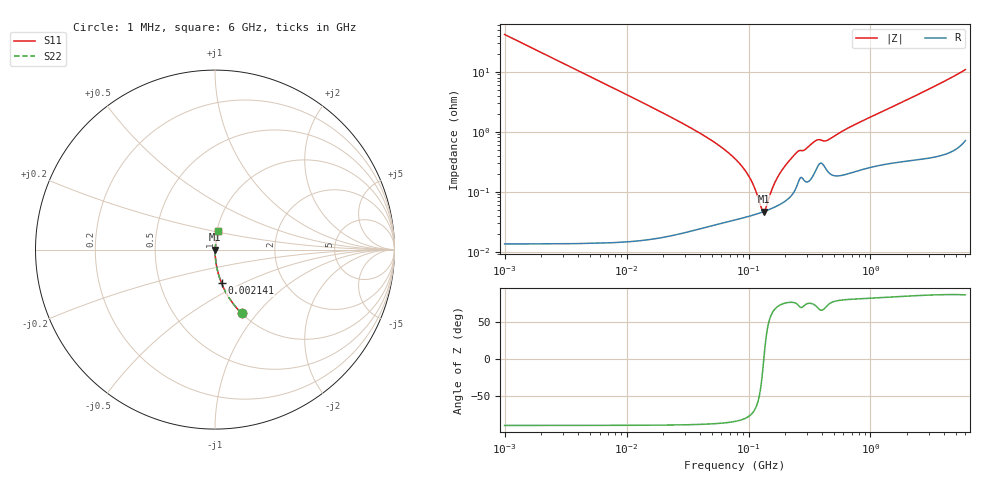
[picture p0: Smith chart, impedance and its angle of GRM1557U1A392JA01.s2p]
!Murata Part Number: GRM1557U1A392JA01
!These Parameters are Measured in Series Mode Connection
!Data Generated on Mar 30, 2021
!  o--ll--o
!Port1  Port2
!  o------o
!Operation Temp=25[degC], DC Bias Voltage=0[V]
!Freq. Start=1000[kHz] Stop=6[GHz] 401[Steps]
# Hz S RI R 50
!Freq.(Hz) S11(Real) S11(Imag) S21(Real) S21(Imag) S12(Real) S12(Imag) S22(Real) S22(Imag)
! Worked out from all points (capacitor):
!   401 points, 1 MHz to 6 GHz, reference 50 ohm
!   read as one part in series: C = 3.81 nF near 1.044 MHz
!   lowest |Z| = 46.5 mohm at 133.4 MHz (marker M1)
!   series resonance near 133.5 MHz, so ESL is about 370 pH
!   S11 on the Smith chart (normalised r, x): 1 MHz: 1.00, -0.84; 2.141 MHz: 1.00, -0.39; 6 GHz: 1.01, +0.22
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1000000  0.1486 -0.3555  0.8514 0.3555  0.8514 0.3555  0.1486 -0.3555
2140860  0.0368 -0.1878  0.9632 0.1878  0.9632 0.1878  0.0368 -0.1878
4293785  0.00948 -0.0962  0.9905 0.0962  0.9905 0.0962  0.00948 -0.0962
1.843659e7  0.000658 -0.0221  0.9993 0.0221  0.9993 0.0221  0.000658 -0.0221
4.596069e7  0.000321 -0.00793  0.9997 0.00793  0.9997 0.00793  0.000321 -0.00793
7.745967e7  0.000349 -0.00353  0.9997 0.00353  0.9997 0.00353  0.000349 -0.00353
9.019724e7  0.000371 -0.00248  0.9996 0.00248  0.9996 0.00248  0.000371 -0.00248
1.027698e8  0.000395 -0.00163  0.9996 0.00163  0.9996 0.00163  0.000395 -0.00163
1.121107e8  0.000415 -0.00108  0.9996 0.00108  0.9996 0.00108  0.000415 -0.00108
1.277378e8  0.000451 -0.000271  0.9995 0.000271  0.9995 0.000271  0.000451 -0.000271
1.334167e8  0.000465 -2.4e-06  0.9995 2.4e-06  0.9995 2.4e-06  0.000465 -2.4e-06
1.39348e8  0.000481 0.000267  0.9995 -0.000267  0.9995 -0.000267  0.000481 0.000267
1.658303e8  0.000561 0.00136  0.9994 -0.00136  0.9994 -0.00136  0.000561 0.00136
1.930997e8  0.000667 0.00237  0.9993 -0.00237  0.9993 -0.00237  0.000667 0.00237
2.506837e8  0.0013 0.00439  0.9987 -0.00439  0.9987 -0.00439  0.0013 0.00439
2.919064e8  0.0015 0.00483  0.9985 -0.00483  0.9985 -0.00483  0.0015 0.00483
3.325952e8  0.00177 0.00614  0.9982 -0.00614  0.9982 -0.00614  0.00177 0.00614
3.708027e8  0.00272 0.0068  0.9973 -0.0068  0.9973 -0.0068  0.00272 0.0068
4.412715e8  0.00228 0.00677  0.9977 -0.00677  0.9977 -0.00677  0.00228 0.00677
6.817316e8  0.00217 0.0118  0.9978 -0.0118  0.9978 -0.0118  0.00217 0.0118
1.428092e9  0.00352 0.0243  0.9965 -0.0243  0.9965 -0.0243  0.00352 0.0243
6e9  0.0183 0.1053  0.9817 -0.1053  0.9817 -0.1053  0.0183 0.1053
